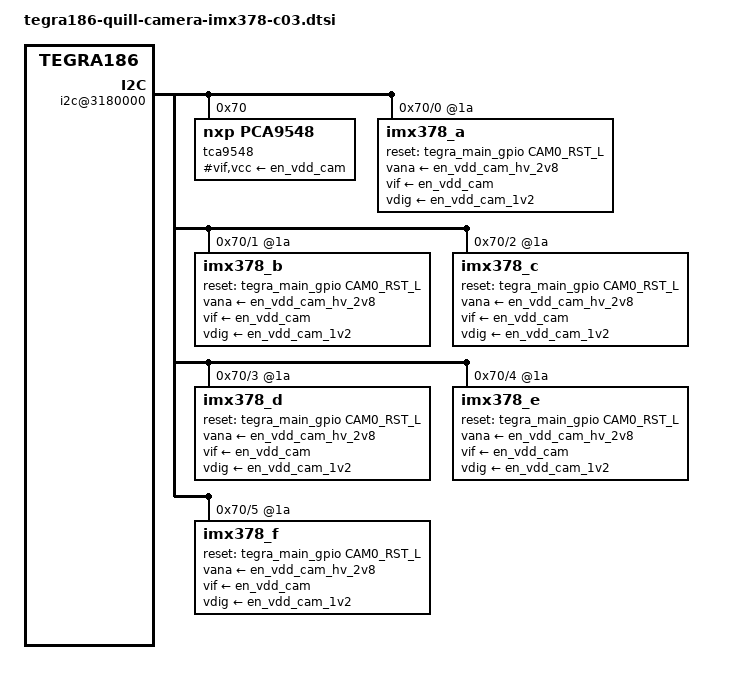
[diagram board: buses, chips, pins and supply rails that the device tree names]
/*
 * Copyright (c) 2017, CenturyArks All rights reserved.
 * Copyright (c) 2015-2016, NVIDIA CORPORATION.  All rights reserved.
 *
 * This program is free software; you can redistribute it and/or modify
 * it under the terms of the GNU General Public License as published by
 * the Free Software Foundation; either version 2 of the License, or
 * (at your option) any later version.
 *
 * This program is distributed in the hope that it will be useful, but WITHOUT
 * ANY WARRANTY; without even the implied warranty of MERCHANTABILITY or
 * FITNESS FOR A PARTICULAR PURPOSE.  See the GNU General Public License for
 * more details.
 *
 * You should have received a copy of the GNU General Public License
 * along with this program.  If not, see <http://www.gnu.org/licenses/>.
 */

#include <quill-modules/tegra186-camera-imx378-c03.dtsi>
#include "dt-bindings/clock/tegra186-clock.h"

#define CAM0_RST_L	TEGRA_MAIN_GPIO(R, 5)
#define CAM0_PWDN	TEGRA_MAIN_GPIO(R, 0)
#define CAM1_RST_L	TEGRA_MAIN_GPIO(R, 1)
#define CAM1_PWDN	TEGRA_MAIN_GPIO(L, 6)

/* camera control gpio definitions */

/ {
	i2c@3180000 {
		tca9548@70 {
			compatible = "nxp,pca9548";
			reg = <0x70>;
			#address-cells = <1>;
			#size-cells = <0>;
			skip_mux_detect = "yes";
			#vif-supply = <&en_vdd_cam>;
			vcc-supply = <&en_vdd_cam>;
			#vcc_lp = "vif";
			status = "okay";
			force_bus_start = <CAMERA_I2C_MUX_BUS(0)>;
			i2c@0 {
				reg = <0>;
				i2c-mux,deselect-on-exit;
				#address-cells = <1>;
				#size-cells = <0>;
				imx378_a@1a {
					/* Define any required hw resources needed by driver */
					/* ie. clocks, io pins, power sources */
					clocks = <&tegra_car TEGRA186_CLK_EXTPERIPH1>,
							 <&tegra_car TEGRA186_CLK_PLLP_OUT0>;
					clock-names = "extperiph1", "pllp_grtba";
					mclk = "extperiph1";
					reset-gpios = <&tegra_main_gpio CAM0_RST_L GPIO_ACTIVE_HIGH>;
					vana-supply = <&en_vdd_cam_hv_2v8>;
					vif-supply = <&en_vdd_cam>;
					vdig-supply = <&en_vdd_cam_1v2>;
					status = "okay";
				};
			};
			i2c@1 {
				reg = <1>;
				i2c-mux,deselect-on-exit;
				#address-cells = <1>;
				#size-cells = <0>;
				imx378_b@1a {
					/* Define any required hw resources needed by driver */
					/* ie. clocks, io pins, power sources */
					clocks = <&tegra_car TEGRA186_CLK_EXTPERIPH1>,
							 <&tegra_car TEGRA186_CLK_PLLP_OUT0>;
					clock-names = "extperiph1", "pllp_grtba";
					mclk = "extperiph1";
					reset-gpios = <&tegra_main_gpio CAM0_RST_L GPIO_ACTIVE_HIGH>;
					vana-supply = <&en_vdd_cam_hv_2v8>;
					vif-supply = <&en_vdd_cam>;
					vdig-supply = <&en_vdd_cam_1v2>;
					status = "okay";
				};
			};
			i2c@2 {
				reg = <2>;
				i2c-mux,deselect-on-exit;
				#address-cells = <1>;
				#size-cells = <0>;
				imx378_c@1a {
					/* Define any required hw resources needed by driver */
					/* ie. clocks, io pins, power sources */
					clocks = <&tegra_car TEGRA186_CLK_EXTPERIPH1>,
							 <&tegra_car TEGRA186_CLK_PLLP_OUT0>;
					clock-names = "extperiph1", "pllp_grtba";
					mclk = "extperiph1";
					reset-gpios = <&tegra_main_gpio CAM0_RST_L GPIO_ACTIVE_HIGH>;
					vana-supply = <&en_vdd_cam_hv_2v8>;
					vif-supply = <&en_vdd_cam>;
					vdig-supply = <&en_vdd_cam_1v2>;
					status = "okay";
				};
			};
			i2c@3 {
				reg = <3>;
				i2c-mux,deselect-on-exit;
				#address-cells = <1>;
				#size-cells = <0>;
				imx378_d@1a {
					/* Define any required hw resources needed by driver */
					/* ie. clocks, io pins, power sources */
					clocks = <&tegra_car TEGRA186_CLK_EXTPERIPH1>,
							 <&tegra_car TEGRA186_CLK_PLLP_OUT0>;
					clock-names = "extperiph1", "pllp_grtba";
					mclk = "extperiph1";
					reset-gpios = <&tegra_main_gpio CAM0_RST_L GPIO_ACTIVE_HIGH>;
					vana-supply = <&en_vdd_cam_hv_2v8>;
					vif-supply = <&en_vdd_cam>;
					vdig-supply = <&en_vdd_cam_1v2>;
					status = "okay";
				};
			};
			i2c@4 {
				reg = <4>;
				i2c-mux,deselect-on-exit;
				#address-cells = <1>;
				#size-cells = <0>;
				imx378_e@1a {
					/* Define any required hw resources needed by driver */
					/* ie. clocks, io pins, power sources */
					clocks = <&tegra_car TEGRA186_CLK_EXTPERIPH1>,
							 <&tegra_car TEGRA186_CLK_PLLP_OUT0>;
					clock-names = "extperiph1", "pllp_grtba";
					mclk = "extperiph1";
					reset-gpios = <&tegra_main_gpio CAM0_RST_L GPIO_ACTIVE_HIGH>;
					vana-supply = <&en_vdd_cam_hv_2v8>;
					vif-supply = <&en_vdd_cam>;
					vdig-supply = <&en_vdd_cam_1v2>;
					status = "okay";
				};
			};
			i2c@5 {
				reg = <5>;
				i2c-mux,deselect-on-exit;
				#address-cells = <1>;
				#size-cells = <0>;
				imx378_f@1a {
					/* Define any required hw resources needed by driver */
					/* ie. clocks, io pins, power sources */
					clocks = <&tegra_car TEGRA186_CLK_EXTPERIPH1>,
							 <&tegra_car TEGRA186_CLK_PLLP_OUT0>;
					clock-names = "extperiph1", "pllp_grtba";
					mclk = "extperiph1";
					reset-gpios = <&tegra_main_gpio CAM0_RST_L GPIO_ACTIVE_HIGH>;
					vana-supply = <&en_vdd_cam_hv_2v8>;
					vif-supply = <&en_vdd_cam>;
					vdig-supply = <&en_vdd_cam_1v2>;
					status = "okay";
				};
			};
		};
	};
};
